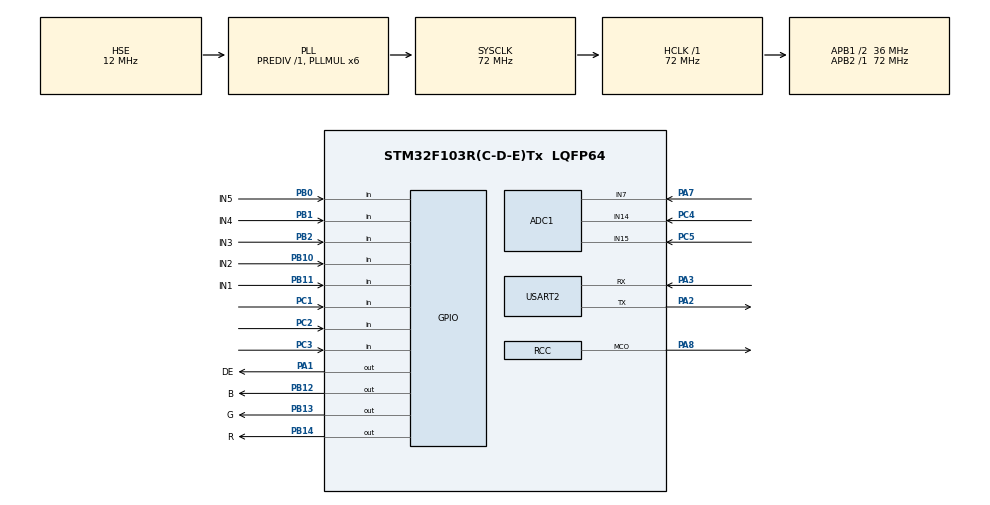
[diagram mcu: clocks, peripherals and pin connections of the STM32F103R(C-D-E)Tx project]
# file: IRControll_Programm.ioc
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ADC1.Channel-0\#ChannelRegularConversion=ADC_CHANNEL_7
ADC1.Channel-4\#ChannelRegularConversion=ADC_CHANNEL_14
ADC1.Channel-5\#ChannelRegularConversion=ADC_CHANNEL_15
ADC1.EnableInjectedConversion=DISABLE
ADC1.ExternalTrigConv=ADC_EXTERNALTRIGCONV_T3_TRGO
ADC1.ExternalTrigInjecConv=ADC_INJECTED_SOFTWARE_START
ADC1.InjNumberOfConversion=3
ADC1.NbrOfConversion=3
ADC1.NbrOfConversionFlag=1
ADC1.Rank-0\#ChannelRegularConversion=1
ADC1.Rank-4\#ChannelRegularConversion=2
ADC1.Rank-5\#ChannelRegularConversion=3
ADC1.SamplingTime-0\#ChannelRegularConversion=ADC_SAMPLETIME_71CYCLES_5
ADC1.SamplingTime-4\#ChannelRegularConversion=ADC_SAMPLETIME_71CYCLES_5
ADC1.SamplingTime-5\#ChannelRegularConversion=ADC_SAMPLETIME_71CYCLES_5
ADC1.master=1
Dma.ADC1.0.Direction=DMA_PERIPH_TO_MEMORY
Dma.ADC1.0.Instance=DMA1_Channel1
Dma.ADC1.0.MemDataAlignment=DMA_MDATAALIGN_HALFWORD
Dma.ADC1.0.MemInc=DMA_MINC_ENABLE
Dma.ADC1.0.Mode=DMA_CIRCULAR
Dma.ADC1.0.PeriphDataAlignment=DMA_PDATAALIGN_HALFWORD
Dma.ADC1.0.PeriphInc=DMA_PINC_DISABLE
Dma.ADC1.0.Priority=DMA_PRIORITY_LOW
Dma.Request0=ADC1
FREERTOS.BinarySemaphores01=ADC_end,Dynamic,NULL
FREERTOS.Tasks01=MainTask,0,256,mainTask,Default,NULL,Dynamic,NULL,NULL;Modbus,0,256,ModBus,Default,NULL,Dynamic,NULL,NULL
FREERTOS.configTOTAL_HEAP_SIZE=10000
Mcu.Family=STM32F1
Mcu.Name=STM32F103R(C-D-E)Tx
Mcu.Package=LQFP64
NVIC.DMA1_Channel1_IRQn=true\:5\:0\:false\:false\:true\:true\:false\:true
NVIC.PriorityGroup=NVIC_PRIORITYGROUP_4
NVIC.TIM6_IRQn=true\:5\:0\:false\:false\:true\:true\:true\:true
NVIC.TIM7_IRQn=true\:0\:0\:false\:false\:true\:false\:false\:true
NVIC.TimeBase=TIM7_IRQn
NVIC.TimeBaseIP=TIM7
NVIC.USART2_IRQn=true\:5\:0\:false\:false\:true\:true\:true\:true
PA1.GPIO_Label=DE
PA1.Signal=GPIO_Output
PA13.Mode=Serial_Wire
PA13.Signal=SYS_JTMS-SWDIO
PA14.Mode=Serial_Wire
PA14.Signal=SYS_JTCK-SWCLK
PA2.Mode=Asynchronous
PA2.Signal=USART2_TX
PA3.Mode=Asynchronous
PA3.Signal=USART2_RX
PA7.Signal=ADCx_IN7
PA8.Mode=Clock-out
PA8.Signal=RCC_MCO
PB0.GPIO_Label=IN5
PB0.GPIO_PuPd=GPIO_PULLUP
PB0.Signal=GPIO_Input
PB1.GPIO_Label=IN4
PB1.GPIO_PuPd=GPIO_PULLUP
PB1.Signal=GPIO_Input
PB10.GPIO_Label=IN2
PB10.GPIO_PuPd=GPIO_PULLUP
PB10.Signal=GPIO_Input
PB11.GPIO_Label=IN1
PB11.GPIO_PuPd=GPIO_PULLUP
PB11.Signal=GPIO_Input
PB12.GPIO_Label=B
PB12.Signal=GPIO_Output
PB13.GPIO_Label=G
PB13.Signal=GPIO_Output
PB14.GPIO_Label=R
PB14.Signal=GPIO_Output
PB2.GPIO_Label=IN3
PB2.GPIO_PuPd=GPIO_PULLUP
PB2.Signal=GPIO_Input
PC1.GPIO_PuPd=GPIO_PULLUP
PC1.Signal=GPIO_Input
PC2.GPIO_PuPd=GPIO_PULLUP
PC2.Signal=GPIO_Input
PC3.GPIO_PuPd=GPIO_PULLUP
PC3.Signal=GPIO_Input
PC4.Signal=ADCx_IN14
PC5.Signal=ADCx_IN15
PD0-OSC_IN.Mode=HSE-External-Oscillator
PD0-OSC_IN.Signal=RCC_OSC_IN
PD1-OSC_OUT.Mode=HSE-External-Oscillator
PD1-OSC_OUT.Signal=RCC_OSC_OUT
ProjectManager.HeapSize=0x2000
ProjectManager.StackSize=0x4000
ProjectManager.TargetToolchain=EWARM V8.32
RCC.ADCPresc=RCC_ADCPCLK2_DIV6
RCC.AHBFreq_Value=72000000
RCC.APB1CLKDivider=RCC_HCLK_DIV2
RCC.APB1Freq_Value=36000000
RCC.APB1TimFreq_Value=72000000
RCC.APB2Freq_Value=72000000
RCC.APB2TimFreq_Value=72000000
RCC.EnbaleCSS=true
RCC.HCLKFreq_Value=72000000
RCC.HSE_VALUE=12000000
RCC.PLLMUL=RCC_PLL_MUL6
RCC.PLLSourceVirtual=RCC_PLLSOURCE_HSE
RCC.RCC_MCOSource=RCC_MCO1SOURCE_PLLCLK
RCC.SYSCLKFreq_VALUE=72000000
RCC.SYSCLKSource=RCC_SYSCLKSOURCE_PLLCLK
RCC.USBFreq_Value=72000000
SH.ADCx_IN14.0=ADC1_IN14,IN14
SH.ADCx_IN15.0=ADC1_IN15,IN15
SH.ADCx_IN7.0=ADC1_IN7,IN7
TIM3.Channel-Output\ Compare1\ No\ Output=TIM_CHANNEL_1
TIM3.Period=10000-1
TIM3.Prescaler=72-1
TIM3.TIM_MasterOutputTrigger=TIM_TRGO_UPDATE
TIM6.Prescaler=71
USART2.VirtualMode=VM_ASYNC
VP_FREERTOS_VS_CMSIS_V1.Mode=CMSIS_V1
VP_SYS_VS_tim7.Mode=TIM7
VP_TIM3_VS_no_output1.Mode=Output Compare1 No Output
VP_TIM6_VS_ClockSourceINT.Mode=Enable_Timer
board=custom

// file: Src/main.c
/* USER CODE BEGIN Header */
/**
  ******************************************************************************
  * @file           : main.c
  * @brief          : Main program body
  ******************************************************************************
  * @attention
  *
  * <h2><center>&copy; Copyright (c) 2020 STMicroelectronics.
  * All rights reserved.</center></h2>
  *
  * This software component is licensed by ST under Ultimate Liberty license
  * SLA0044, the "License"; You may not use this file except in compliance with
  * the License. You may obtain a copy of the License at:
  *                             www.st.com/SLA0044
  *
  ******************************************************************************
  */
/* USER CODE END Header */

#include "main.h"
#include "cmsis_os.h"
#include "adc.h"
#include "dma.h"
#include "tim.h"
#include "usart.h"
#include "gpio.h"

/* USER CODE BEGIN Includes */
#include "flash_user.h"
/* USER CODE END Includes */

/* USER CODE BEGIN PV */
settings_t settings = {115200, 0x0E};
/* USER CODE END PV */

void SystemClock_Config(void);
void MX_FREERTOS_Init(void);

int main(void)
{

  /* MCU Configuration--------------------------------------------------------*/

  /* Reset of all peripherals, Initializes the Flash interface and the Systick. */
  HAL_Init();

  /* Configure the system clock */
  SystemClock_Config();

  /* Initialize all configured peripherals */
  MX_GPIO_Init();
  MX_DMA_Init();
  MX_USART2_UART_Init();
  MX_TIM6_Init();
  MX_ADC1_Init();
  MX_TIM3_Init();
  /* USER CODE BEGIN 2 */
  Flash_Read(&settings, StartSettingsAddres);
  if((settings.BaudRate == 0) | (settings.BaudRate == 0xFFFFFFFF) | (1))
    {
      settings.BaudRate = 115200;
      settings.SlaveAddress = 0x02;
      settings.offsetMax = 0;
      settings.offsetMin = 0;
      Flash_Write(settings, StartSettingsAddres);
    }
  /* USER CODE END 2 */

  /* Call init function for freertos objects (in freertos.c) */
  MX_FREERTOS_Init();
  /* Start scheduler */
  osKernelStart();

  /* We should never get here as control is now taken by the scheduler */
  /* Infinite loop */
  while (1)
  {

  }
}

void SystemClock_Config(void)
{
  RCC_OscInitTypeDef RCC_OscInitStruct = {0};
  RCC_ClkInitTypeDef RCC_ClkInitStruct = {0};
  RCC_PeriphCLKInitTypeDef PeriphClkInit = {0};

  /** Initializes the CPU, AHB and APB busses clocks
  */
  RCC_OscInitStruct.OscillatorType = RCC_OSCILLATORTYPE_HSE;
  RCC_OscInitStruct.HSEState = RCC_HSE_ON;
  RCC_OscInitStruct.HSEPredivValue = RCC_HSE_PREDIV_DIV1;
  RCC_OscInitStruct.HSIState = RCC_HSI_ON;
  RCC_OscInitStruct.PLL.PLLState = RCC_PLL_ON;
  RCC_OscInitStruct.PLL.PLLSource = RCC_PLLSOURCE_HSE;
  RCC_OscInitStruct.PLL.PLLMUL = RCC_PLL_MUL6;
  if (HAL_RCC_OscConfig(&RCC_OscInitStruct) != HAL_OK)
  {
    Error_Handler();
  }
  /** Initializes the CPU, AHB and APB busses clocks
  */
  RCC_ClkInitStruct.ClockType = RCC_CLOCKTYPE_HCLK|RCC_CLOCKTYPE_SYSCLK
                              |RCC_CLOCKTYPE_PCLK1|RCC_CLOCKTYPE_PCLK2;
  RCC_ClkInitStruct.SYSCLKSource = RCC_SYSCLKSOURCE_PLLCLK;
  RCC_ClkInitStruct.AHBCLKDivider = RCC_SYSCLK_DIV1;
  RCC_ClkInitStruct.APB1CLKDivider = RCC_HCLK_DIV2;
  RCC_ClkInitStruct.APB2CLKDivider = RCC_HCLK_DIV1;

  if (HAL_RCC_ClockConfig(&RCC_ClkInitStruct, FLASH_LATENCY_2) != HAL_OK)
  {
    Error_Handler();
  }
  PeriphClkInit.PeriphClockSelection = RCC_PERIPHCLK_ADC;
  PeriphClkInit.AdcClockSelection = RCC_ADCPCLK2_DIV6;
  if (HAL_RCCEx_PeriphCLKConfig(&PeriphClkInit) != HAL_OK)
  {
    Error_Handler();
  }
  HAL_RCC_MCOConfig(RCC_MCO, RCC_MCO1SOURCE_PLLCLK, RCC_MCODIV_1);
  /** Enables the Clock Security System
  */
  HAL_RCC_EnableCSS();
}

 /**
  * @brief  Period elapsed callback in non blocking mode
  * @note   This function is called  when TIM7 interrupt took place, inside
  * HAL_TIM_IRQHandler(). It makes a direct call to HAL_IncTick() to increment
  * a global variable "uwTick" used as application time base.
  * @param  htim : TIM handle
  * @retval None
  */
void HAL_TIM_PeriodElapsedCallback(TIM_HandleTypeDef *htim)
{
  if (htim->Instance == TIM7) {
    HAL_IncTick();
  }
}

void Error_Handler(void)
{
}

/************************ (C) COPYRIGHT STMicroelectronics *****END OF FILE****/

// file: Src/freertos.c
/* USER CODE BEGIN Header */
/**
******************************************************************************
* File Name          : freertos.c
* Description        : Code for freertos applications
******************************************************************************
* @attention
*
* <h2><center>&copy; Copyright (c) 2020 STMicroelectronics.
* All rights reserved.</center></h2>
*
* This software component is licensed by ST under Ultimate Liberty license
* SLA0044, the "License"; You may not use this file except in compliance with
* the License. You may obtain a copy of the License at:
*                             www.st.com/SLA0044
*
******************************************************************************
*/
/* USER CODE END Header */

#include "FreeRTOS.h"
#include "task.h"
#include "main.h"
#include "cmsis_os.h"

/* USER CODE BEGIN Includes */
#include "mb.h"
#include "mbport.h"
#include "flash_user.h"
//#include "filter_sma.h"
#include "stdio.h"
#include "sensor.h"
/* USER CODE END Includes */

/* USER CODE BEGIN Variables */
extern TIM_HandleTypeDef htim1;
extern TIM_HandleTypeDef htim8;
extern TIM_HandleTypeDef htim3;
extern ADC_HandleTypeDef hadc1;

extern settings_t settings;
uint16_t sensBuff[8] = {0};
uint8_t sensState = 255; // битовое поле

uint32_t freqSens = 72000000u/30000u;
uint32_t pwmSens;

uint16_t adc_buffer[1024] = {0};
sensor Sensor1;
sensor Sensor2;
sensor Sensor3;
uint16_t call = 0;
/* USER CODE END Variables */
osThreadId MainTaskHandle;
osThreadId ModbusHandle;
osSemaphoreId ADC_endHandle;

/* USER CODE BEGIN FunctionPrototypes */
//extern "C"
/* USER CODE END FunctionPrototypes */

void mainTask(void const * argument);
void ModBus(void const * argument);

void MX_FREERTOS_Init(void); /* (MISRA C 2004 rule 8.1) */

/* GetIdleTaskMemory prototype (linked to static allocation support) */
extern "C" void vApplicationGetIdleTaskMemory( StaticTask_t **ppxIdleTaskTCBBuffer, StackType_t **ppxIdleTaskStackBuffer, uint32_t *pulIdleTaskStackSize );

/* USER CODE BEGIN GET_IDLE_TASK_MEMORY */
static StaticTask_t xIdleTaskTCBBuffer;
static StackType_t xIdleStack[configMINIMAL_STACK_SIZE];

void vApplicationGetIdleTaskMemory( StaticTask_t **ppxIdleTaskTCBBuffer, StackType_t **ppxIdleTaskStackBuffer, uint32_t *pulIdleTaskStackSize )
{
   *ppxIdleTaskTCBBuffer = &xIdleTaskTCBBuffer;
   *ppxIdleTaskStackBuffer = &xIdleStack[0];
   *pulIdleTaskStackSize = configMINIMAL_STACK_SIZE;
   /* place for user code */
}
/* USER CODE END GET_IDLE_TASK_MEMORY */

void MX_FREERTOS_Init(void) {

  /* Create the semaphores(s) */
  /* definition and creation of ADC_end */
  osSemaphoreDef(ADC_end);
  ADC_endHandle = osSemaphoreCreate(osSemaphore(ADC_end), 1);

  /* Create the thread(s) */
  /* definition and creation of MainTask */
  osThreadDef(MainTask, mainTask, osPriorityNormal, 0, 256);
  MainTaskHandle = osThreadCreate(osThread(MainTask), NULL);

  /* definition and creation of Modbus */
  osThreadDef(Modbus, ModBus, osPriorityNormal, 0, 256);
  ModbusHandle = osThreadCreate(osThread(Modbus), NULL);

}

void mainTask(void const * argument)
{
  /* USER CODE BEGIN mainTask */
   HAL_ADC_Start_DMA(&hadc1, (uint32_t*)&adc_buffer, 3);
   HAL_TIM_Base_Start_IT(&htim3);

   HAL_GPIO_WritePin(R_GPIO_Port, R_Pin, GPIO_PIN_SET);
   HAL_GPIO_WritePin(G_GPIO_Port, G_Pin, GPIO_PIN_SET);
   HAL_GPIO_WritePin(B_GPIO_Port, B_Pin, GPIO_PIN_SET);

   /* Infinite loop */
   for(;;)
   {

      osSemaphoreWait(ADC_endHandle, osWaitForever);
      Sensor1.Filter_SMA(adc_buffer[0]);
      Sensor2.Filter_SMA(adc_buffer[1]);
      Sensor3.Filter_SMA(adc_buffer[2]);
      printf("CH1: %d\r\n",Sensor1.Get_Result());
      //printf("CH2: %d\r\n",Sensor2.Get_Result());
      //printf("CH3: %d\r\n",Sensor3.Get_Result());

      if(call){
         call = 0;
         Sensor1.Call(&adc_buffer[0]);
      }
      if(Sensor1.detectPoll()){
         HAL_GPIO_WritePin(R_GPIO_Port, R_Pin, GPIO_PIN_RESET);
      }else{
         HAL_GPIO_WritePin(R_GPIO_Port, R_Pin, GPIO_PIN_SET);
      }
      //taskYIELD();
   }
  /* USER CODE END mainTask */
}

void ModBus(void const * argument)
{
  /* USER CODE BEGIN ModBus */
   /* Infinite loop */
   eMBErrorCode eStatus = eMBInit( MB_RTU, settings.SlaveAddress, 3, settings.BaudRate, MB_PAR_NONE );
   eStatus = eMBEnable();
   //HAL_TIM_Base_Start_IT(&htim17);
   for(;;)
   {
      eMBPoll();
      //taskYIELD();
   }
  /* USER CODE END ModBus */
}

/* USER CODE BEGIN Application */

void HAL_ADC_ConvCpltCallback(ADC_HandleTypeDef* hadc){
  /* This is called after the conversion is completed */

   osSemaphoreRelease(ADC_endHandle);

}
/*description https://www.freemodbus.org/api/group__modbus__registers.html*/
//0x04
eMBErrorCode
eMBRegInputCB( UCHAR * pucRegBuffer, USHORT usAddress, USHORT usNRegs )
{
   eMBErrorCode    eStatus = MB_ENOERR;

   return eStatus;
}
//0x03 0x06 0x10
eMBErrorCode
eMBRegHoldingCB( UCHAR * pucRegBuffer, USHORT usAddress, USHORT usNRegs, eMBRegisterMode eMode )
{
   //uint8_t CMD[5] = {0};
   volatile HAL_StatusTypeDef status;

   if(usAddress == 0 ){}
   else{usAddress--;}

   eMBErrorCode    eStatus = MB_ENOERR;

   switch (eMode)
   {
     case MB_REG_READ:
      {
         switch (usAddress)
         {
           case 0:
            {
              uint16_t temp = Sensor1.Get_Result();
              *(pucRegBuffer) = (temp & 0xff00)>>8;
              *(pucRegBuffer++) = temp & 0x00ff;
            break;
            }
           case 1:
            {
              uint16_t temp = Sensor2.Get_Result();
              *(pucRegBuffer) = (temp & 0xff00)>>8;
              *(pucRegBuffer++) = temp & 0x00ff;
               break;
            }
           case 2:
            {
              uint16_t temp = Sensor3.Get_Result();
              *(pucRegBuffer) = (temp & 0xff00)>>8;
              *(pucRegBuffer++) = temp & 0x00ff;
               break;
            }
           case 3: //Status Dir
            {

               break;
            }
           case 4: // RPM
            {

               break;
            }
           case 5: //
            {

               break;
            }
           case 6: //
            {

               break;
            }
           case 7: //
            {

               break;
            }
           case 8:
            {
               //(*(pucRegBuffer) = ) | (*(pucRegBuffer+1))) = settings.BaudRate /10;
               break;
            }
           case 9:
            {
               *(pucRegBuffer++) = sensState;
               break;
            }
           case 10:
            {

               break;
            }
           case 11:
            {
               *(pucRegBuffer++) = settings.BaudRate;
               break;
            }
           default:
            {
               eStatus = MB_ENOREG;
               break;
            }
         }

         break;
      }
     case MB_REG_WRITE:
      {

         switch (usAddress)
         {
           case 0: //  Stop/Start
            {

               break;
            }
           case 1: // Dir
            {

               break;
            }
           case 2:
            {

               break;
            }
           case 3:
            {

               break;
            }
           case 4: //
            {

               break;
            }
           case 5: //
            {
               break;
            }
           case 6: //
            {

               break;
            }
           case 7: //
            {
               break;
            }
           case 8:
            {
               settings.BaudRate = ((*(pucRegBuffer)<<8) | (*(pucRegBuffer+1)))*10;
               break;
            }
           case 9:
            {

               break;
            }
           case 11:
            {
               settings.SlaveAddress = *(pucRegBuffer++);
               break;
            }
           case 0x0F:
            {
               Flash_Write(settings, StartSettingsAddres);
               break;
            }
           default:
            {
               eStatus = MB_ENOREG;
               break;
            }
         }
         break;
      }
     default:
      {
         eStatus = MB_EINVAL;
         break;
      }
   }

   return eStatus;
}

// 0x01 0x0f 0x05
eMBErrorCode
eMBRegCoilsCB( UCHAR * pucRegBuffer, USHORT usAddress, USHORT usNCoils, eMBRegisterMode eMode )
{
   return MB_ENOREG;
}
//0x02
eMBErrorCode
eMBRegDiscreteCB( UCHAR * pucRegBuffer, USHORT usAddress, USHORT usNDiscrete )
{
   return MB_ENOREG;
}

/* USER CODE END Application */

/************************ (C) COPYRIGHT STMicroelectronics *****END OF FILE****/
